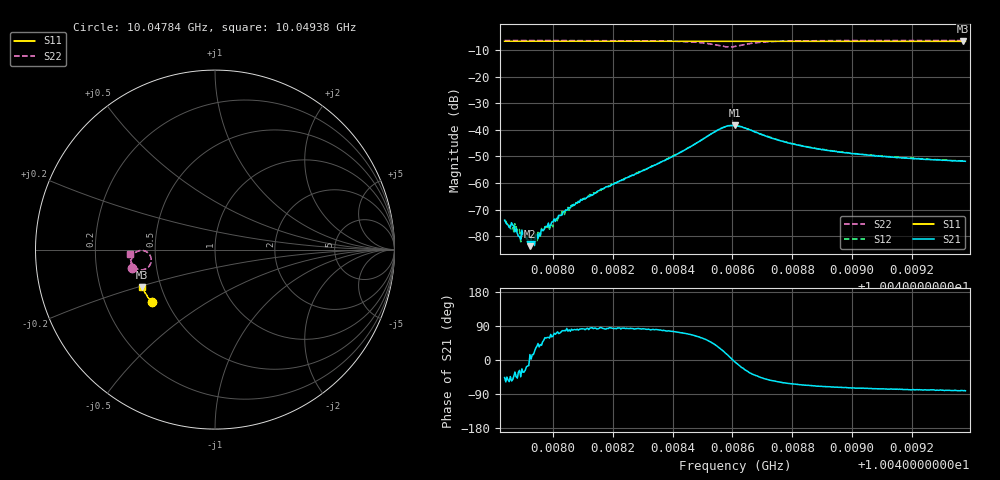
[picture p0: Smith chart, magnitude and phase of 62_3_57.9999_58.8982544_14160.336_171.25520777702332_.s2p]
#  HZ  S  RI  R  50.00
! Rohde & Schwarz Vector Network Analyzer
! Rohde-Schwarz,ZNB20-2Port,1311601062101988,3.16
! Created: UTC 3/21/2024, 12:53:02 AM
! freq[Hz]  re:S11  im:S11  re:S21  im:S21  re:S12  im:S12  re:S22  im:S22
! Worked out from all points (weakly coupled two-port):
!   401 points, 10.04784 GHz to 10.04938 GHz, reference 50 ohm
!   highest |S21| = -38.36 dB at 10.04861 GHz (marker M1); lowest = -83.7 dB at 10.04792 GHz (marker M2)
!   lowest |S11| = -6.8 dB at 10.04937 GHz (marker M3), VSWR 2.68, Z = 19.6 - j10.3 ohm
!   |S11| at or under -10 dB: nowhere
!   |S22| runs from -8.9 to -6.5 dB; largest |S21 - S12| = 0.00091
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1.0047837e10  -0.3536 -0.2937  0.000139 -0.000145  0.000134 -0.00015  -0.4642 -0.1006
1.0047849e10  -0.3542 -0.2932  9.85e-05 -0.000129  0.000114 -0.000136  -0.4646 -0.0996
1.0047861e10  -0.3545 -0.2926  0.000102 -0.000147  0.000105 -9e-05  -0.4646 -0.0987
1.0047868e10  -0.3548 -0.2922  0.000114 -0.000106  0.000103 -6.24e-05  -0.4646 -0.0981
1.004788e10  -0.3554 -0.2916  7.61e-05 -8.38e-05  0.000104 -6.97e-05  -0.4647 -0.0972
1.0047884e10  -0.3554 -0.2913  8.48e-05 -5.28e-05  0.000135 -3.12e-05  -0.465 -0.0968
1.0047899e10  -0.356 -0.2905  9.01e-05 -5.73e-05  0.0001 -2.55e-05  -0.4649 -0.0956
1.0047922e10  -0.3569 -0.2893  6.31e-05 1.61e-05  0.000104 1.99e-05  -0.4652 -0.0937
1.0047949e10  -0.3581 -0.2879  6.5e-05 6.19e-05  9.94e-05 6.54e-05  -0.4655 -0.0914
1.0047968e10  -0.3589 -0.2867  8.04e-05 0.000103  6.02e-05 0.000107  -0.4656 -0.0897
1.0047992e10  -0.3599 -0.2856  6.28e-05 0.00015  5.08e-05 0.000156  -0.4659 -0.0876
1.0048026e10  -0.3612 -0.2837  6.78e-05 0.000236  4.32e-05 0.000248  -0.4663 -0.0845
1.0048096e10  -0.3639 -0.2799  6.25e-05 0.000468  5.08e-05 0.000489  -0.4666 -0.0779
1.0048354e10  -0.3737 -0.2657  0.000437 0.00231  0.000301 0.00234  -0.4624 -0.0439
1.0048481e10  -0.3782 -0.2584  0.00265 0.00504  0.00235 0.0052  -0.4381 -0.0126
1.0048558e10  -0.3804 -0.2538  0.00891 0.0053  0.0086 0.00584  -0.3774 -0.0148
1.0048608e10  -0.3816 -0.2517  0.012 -0.00114  0.012 -0.000232  -0.3583 -0.0769
1.0048705e10  -0.3856 -0.2469  0.00519 -0.00593  0.00558 -0.00562  -0.4309 -0.1086
1.0048867e10  -0.3913 -0.2374  0.00171 -0.00423  0.00201 -0.00417  -0.4632 -0.0764
1.0049125e10  -0.3997 -0.2225  0.000697 -0.00303  0.00091 -0.00299  -0.4718 -0.0461
1.0049372e10  -0.407 -0.2078  0.000405 -0.00253  0.000543 -0.00255  -0.4741 -0.025
1.0049379e10  -0.4074 -0.2074  0.000393 -0.00252  0.000535 -0.00252  -0.4741 -0.0244
